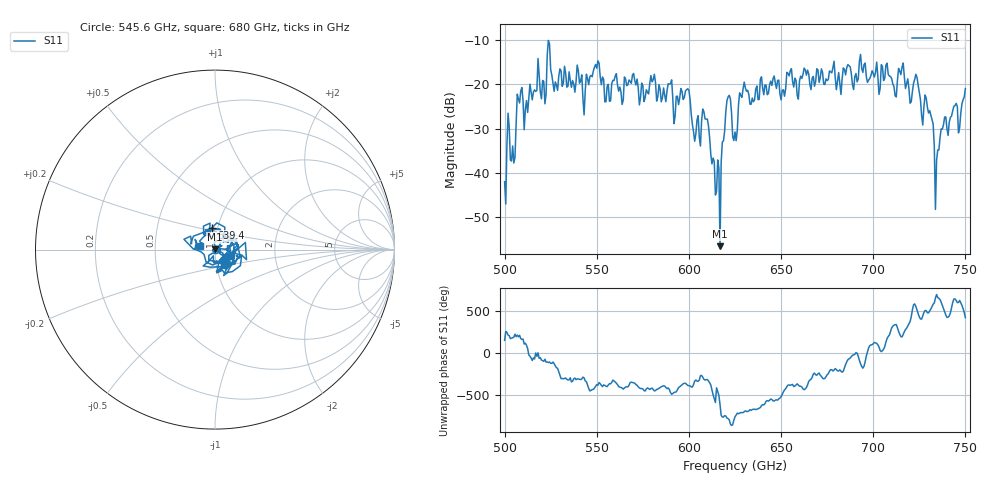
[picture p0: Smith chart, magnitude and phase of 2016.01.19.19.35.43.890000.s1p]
!Created with skrf (http://scikit-rf.org).
# GHz S RI R 50.0
!freq ReS11 ImS11
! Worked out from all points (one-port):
!   401 points, 500 GHz to 750 GHz, reference 50 ohm
!   lowest |S11| = -56.6 dB at 616.9 GHz (marker M1), VSWR 1.00, Z = 49.9 + j0.136 ohm
!   |S11| at or under -10 dB: start of sweep to end of sweep
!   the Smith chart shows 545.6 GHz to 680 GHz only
!   S11 on the Smith chart (normalised r, x): 545.6 GHz: 1.10, -0.18; 639.4 GHz: 0.94, +0.23; 680 GHz: 0.84, +0.03
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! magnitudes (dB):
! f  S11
! 500 GHz  -42.0
! 502.5 GHz  -29.7
! 504.4 GHz  -33.9
! 508.1 GHz  -24.2
! 521.2 GHz  -19.4
! 524.4 GHz  -10.9
! 527.5 GHz  -19.5
! 531.2 GHz  -20.4
! 545.6 GHz  -20.1
! 562.5 GHz  -20.6
! 593.8 GHz  -22.7
! 599.4 GHz  -21.0
! 603.1 GHz  -32.8
! 608.8 GHz  -27.8
! 615.6 GHz  -37.1
! 616.9 GHz  -56.6
! 621.2 GHz  -22.9
! 625 GHz  -30.8
! 628.8 GHz  -22.9
! 639.4 GHz  -18.3
! 656.2 GHz  -19.4
! 680 GHz  -21.2
! 687.5 GHz  -16.0
! 718.8 GHz  -18.8
! 729.4 GHz  -25.2
! 734.4 GHz  -37.1
! 738.1 GHz  -29.1
! 750 GHz  -21.0
